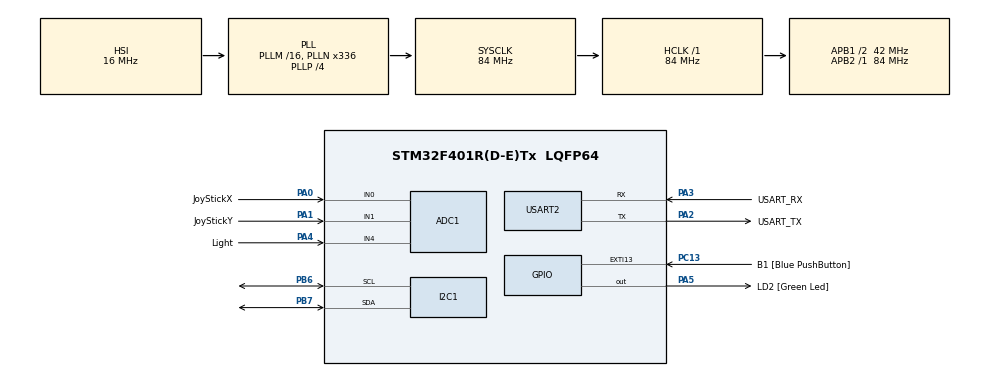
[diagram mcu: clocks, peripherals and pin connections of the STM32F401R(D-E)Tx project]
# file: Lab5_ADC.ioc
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ADC1.Channel-0\#ChannelRegularConversion=ADC_CHANNEL_0
ADC1.Channel-4\#ChannelRegularConversion=ADC_CHANNEL_1
ADC1.Channel-5\#ChannelRegularConversion=ADC_CHANNEL_4
ADC1.ContinuousConvMode=ENABLE
ADC1.InjNumberOfConversion=0
ADC1.NbrOfConversion=3
ADC1.NbrOfConversionFlag=1
ADC1.Rank-0\#ChannelRegularConversion=1
ADC1.Rank-4\#ChannelRegularConversion=2
ADC1.Rank-5\#ChannelRegularConversion=3
ADC1.SamplingTime-0\#ChannelRegularConversion=ADC_SAMPLETIME_480CYCLES
ADC1.SamplingTime-4\#ChannelRegularConversion=ADC_SAMPLETIME_480CYCLES
ADC1.SamplingTime-5\#ChannelRegularConversion=ADC_SAMPLETIME_480CYCLES
ADC1.ScanConvMode=ENABLE
ADC1.master=1
Mcu.Family=STM32F4
Mcu.Name=STM32F401R(D-E)Tx
Mcu.Package=LQFP64
NVIC.ADC_IRQn=true\:0\:0\:false\:false\:true\:true\:true\:true
NVIC.PriorityGroup=NVIC_PRIORITYGROUP_0
PA0-WKUP.GPIO_Label=JoyStickX
PA0-WKUP.Signal=ADCx_IN0
PA1.GPIO_Label=JoyStickY
PA1.Signal=ADCx_IN1
PA13.GPIO_Label=TMS
PA13.Mode=Serial_Wire
PA13.Signal=SYS_JTMS-SWDIO
PA14.GPIO_Label=TCK
PA14.Mode=Serial_Wire
PA14.Signal=SYS_JTCK-SWCLK
PA2.GPIO_Label=USART_TX
PA2.GPIO_Mode=GPIO_MODE_AF_PP
PA2.GPIO_PuPd=GPIO_NOPULL
PA2.GPIO_Speed=GPIO_SPEED_FREQ_LOW
PA2.Mode=Asynchronous
PA2.Signal=USART2_TX
PA3.GPIO_Label=USART_RX
PA3.GPIO_Mode=GPIO_MODE_AF_PP
PA3.GPIO_PuPd=GPIO_NOPULL
PA3.GPIO_Speed=GPIO_SPEED_FREQ_LOW
PA3.Mode=Asynchronous
PA3.Signal=USART2_RX
PA4.GPIO_Label=Light
PA4.Signal=ADCx_IN4
PA5.GPIO_Label=LD2 [Green Led]
PA5.GPIO_Mode=GPIO_MODE_OUTPUT_PP
PA5.GPIO_PuPd=GPIO_NOPULL
PA5.GPIO_Speed=GPIO_SPEED_FREQ_LOW
PA5.Signal=GPIO_Output
PB0.Signal=ADCx_IN8
PB3.GPIO_Label=SWO
PB3.Signal=SYS_JTDO-SWO
PB6.Mode=I2C
PB6.Signal=I2C1_SCL
PB7.Mode=I2C
PB7.Signal=I2C1_SDA
PC13-ANTI_TAMP.GPIO_Label=B1 [Blue PushButton]
PC13-ANTI_TAMP.GPIO_ModeDefaultEXTI=GPIO_MODE_IT_FALLING
PC13-ANTI_TAMP.GPIO_PuPd=GPIO_NOPULL
PC13-ANTI_TAMP.Signal=GPXTI13
PC14-OSC32_IN.Mode=LSE-External-Oscillator
PC14-OSC32_IN.Signal=RCC_OSC32_IN
PC15-OSC32_OUT.Mode=LSE-External-Oscillator
PC15-OSC32_OUT.Signal=RCC_OSC32_OUT
PH0\ -\ OSC_IN.Mode=HSE-External-Clock-Source
PH0\ -\ OSC_IN.Signal=RCC_OSC_IN
PH1\ -\ OSC_OUT.Mode=HSE-External-Clock-Source
PH1\ -\ OSC_OUT.Signal=RCC_OSC_OUT
ProjectManager.HeapSize=0x200
ProjectManager.StackSize=0x400
ProjectManager.TargetToolchain=STM32CubeIDE
RCC.48MHZClocksFreq_Value=48000000
RCC.AHBFreq_Value=84000000
RCC.APB1CLKDivider=RCC_HCLK_DIV2
RCC.APB1Freq_Value=42000000
RCC.APB1TimFreq_Value=84000000
RCC.APB2Freq_Value=84000000
RCC.APB2TimFreq_Value=84000000
RCC.CortexFreq_Value=84000000
RCC.HCLKFreq_Value=84000000
RCC.HSE_VALUE=8000000
RCC.HSI_VALUE=16000000
RCC.PLLN=336
RCC.PLLP=RCC_PLLP_DIV4
RCC.PLLQ=7
RCC.SYSCLKFreq_VALUE=84000000
RCC.SYSCLKSource=RCC_SYSCLKSOURCE_PLLCLK
RCC.VCOOutputFreq_Value=336000000
SH.ADCx_IN0.0=ADC1_IN0,IN0
SH.ADCx_IN1.0=ADC1_IN1,IN1
SH.ADCx_IN4.0=ADC1_IN4,IN4
SH.ADCx_IN8.0=ADC1_IN8
TIM2.Period=0xffffffff
TIM2.Prescaler=84-1
USART2.VirtualMode=VM_ASYNC
VP_TIM2_VS_ClockSourceINT.Mode=Internal
board=NUCLEO-F401RE

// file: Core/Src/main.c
/* USER CODE BEGIN Header */
/**
  ******************************************************************************
  * @file           : main.c
  * @brief          : Main program body
  ******************************************************************************
  * @attention
  *
  * Copyright (c) 2024 STMicroelectronics.
  * All rights reserved.
  *
  * This software is licensed under terms that can be found in the LICENSE file
  * in the root directory of this software component.
  * If no LICENSE file comes with this software, it is provided AS-IS.
  *
  ******************************************************************************
  */
/* USER CODE END Header */
#include "main.h"

/* USER CODE BEGIN Includes */
#include "lcd.h"
#include <stdio.h>
#include <string.h>
/* USER CODE END Includes */

ADC_HandleTypeDef hadc1;

I2C_HandleTypeDef hi2c1;

TIM_HandleTypeDef htim2;

UART_HandleTypeDef huart2;

/* USER CODE BEGIN PV */
char str[50] = { '\0'};
TextLCDType lcd;
#define ADC_BUF_SIZE 3
uint32_t adc_buffer[ADC_BUF_SIZE];
int adc_buf_ix = 0;
#define JOY_X_IX 0
#define JOY_Y_IX 1
#define LIGHT_IX 2
/* USER CODE END PV */

void SystemClock_Config(void);
static void MX_GPIO_Init(void);
static void MX_USART2_UART_Init(void);
static void MX_ADC1_Init(void);
static void MX_I2C1_Init(void);
static void MX_TIM2_Init(void);

/* USER CODE BEGIN 0 */
uint16_t read_one_adc_value(ADC_HandleTypeDef * hadc)
{
	HAL_ADC_Start(hadc);
	HAL_ADC_PollForConversion(hadc, 100);
	uint32_t reading = HAL_ADC_GetValue(hadc);
	HAL_ADC_Stop(hadc);
	return (uint16_t) reading;
}

float normalize_12bit(uint16_t x) // right in image
{
	return 1 - (x / 4095.0);
}

float normalize_12bit_posneg(uint16_t x) // left in image
{
	return (x / 2048.0) - 1;
}
float normalize_12bit_lumine(uint16_t x) {
	return (4095.00 - x) /4095.0;
}
void convert_time_to_str(float number)
{
	sprintf(str, "%0.2f", number);
}

void convert_light_to_str(float number)
{
	sprintf(str, "%0.3f", number);
}

float light_sensor(uint16_t light_reading)
{
	return (light_reading);
}

void HAL_ADC_ConvCpltCallback(ADC_HandleTypeDef *hadc)
{
	adc_buffer[adc_buf_ix] = HAL_ADC_GetValue(hadc);
	adc_buf_ix++;
	if(adc_buf_ix == ADC_BUF_SIZE)
	{
		adc_buf_ix = 0;

	}
}
/* USER CODE END 0 */

int main(void)
{

  /* MCU Configuration--------------------------------------------------------*/

  /* Reset of all peripherals, Initializes the Flash interface and the Systick. */
  HAL_Init();

  /* Configure the system clock */
  SystemClock_Config();

  /* Initialize all configured peripherals */
  MX_GPIO_Init();
  MX_USART2_UART_Init();
  MX_ADC1_Init();
  MX_I2C1_Init();
  MX_TIM2_Init();
  /* USER CODE BEGIN 2 */
  read_one_adc_value(&hadc1);

  //uint16_t joystickX;
  TextLCD_Init(&lcd, &hi2c1, 0x4E);
  HAL_ADC_Start_IT(&hadc1);
  /* USER CODE END 2 */

  /* Infinite loop */
  while (1)
  {

    /* USER CODE BEGIN 3 */

	  /*Testing
	      //joystickX = read_one_adc_value(&hadc1);
	      // Transmit the raw ADC value as bytes over UART
	      HAL_UART_Transmit(&huart2, (uint8_t*)&joystickX, sizeof(joystickX), HAL_MAX_DELAY);
	      HAL_Delay(500); // 500ms delay
	  */
	  if (adc_buf_ix == 0)
	  	  {
	  		  //x value
	  		  TextLCD_Position(&lcd, 0, 0);
	  		  convert_time_to_str(normalize_12bit_posneg(adc_buffer[JOY_X_IX]));

	  		  if(normalize_12bit_posneg(adc_buffer[JOY_X_IX]) >= 0){
	  			  TextLCD_PutChar(&lcd, '+');
	  		  }
	  		  TextLCD_PutStr(&lcd, str);
	  		  TextLCD_PutChar(&lcd, 'x');

	  		  //y value
	  		  TextLCD_Position(&lcd, 0, 1);
	  		  convert_time_to_str(normalize_12bit_posneg(adc_buffer[JOY_Y_IX]));

	  		  if(normalize_12bit_posneg(adc_buffer[JOY_Y_IX]) >= 0){
	  			  TextLCD_PutChar(&lcd, '+');
	  		  }
	  		  TextLCD_PutStr(&lcd, str);
	  		  TextLCD_PutChar(&lcd, 'y');

	  		  //light value
	  		  TextLCD_Position(&lcd, 10, 1);
	  		  convert_light_to_str(normalize_12bit(adc_buffer[LIGHT_IX]));

	  		  TextLCD_PutStr(&lcd, str);
	  		  TextLCD_PutChar(&lcd, 'L');
	  	  }
  }
  /* USER CODE END 3 */
}

void SystemClock_Config(void)
{
  RCC_OscInitTypeDef RCC_OscInitStruct = {0};
  RCC_ClkInitTypeDef RCC_ClkInitStruct = {0};

  /** Configure the main internal regulator output voltage
  */
  __HAL_RCC_PWR_CLK_ENABLE();
  __HAL_PWR_VOLTAGESCALING_CONFIG(PWR_REGULATOR_VOLTAGE_SCALE2);

  /** Initializes the RCC Oscillators according to the specified parameters
  * in the RCC_OscInitTypeDef structure.
  */
  RCC_OscInitStruct.OscillatorType = RCC_OSCILLATORTYPE_HSI;
  RCC_OscInitStruct.HSIState = RCC_HSI_ON;
  RCC_OscInitStruct.HSICalibrationValue = RCC_HSICALIBRATION_DEFAULT;
  RCC_OscInitStruct.PLL.PLLState = RCC_PLL_ON;
  RCC_OscInitStruct.PLL.PLLSource = RCC_PLLSOURCE_HSI;
  RCC_OscInitStruct.PLL.PLLM = 16;
  RCC_OscInitStruct.PLL.PLLN = 336;
  RCC_OscInitStruct.PLL.PLLP = RCC_PLLP_DIV4;
  RCC_OscInitStruct.PLL.PLLQ = 7;
  if (HAL_RCC_OscConfig(&RCC_OscInitStruct) != HAL_OK)
  {
    Error_Handler();
  }

  /** Initializes the CPU, AHB and APB buses clocks
  */
  RCC_ClkInitStruct.ClockType = RCC_CLOCKTYPE_HCLK|RCC_CLOCKTYPE_SYSCLK
                              |RCC_CLOCKTYPE_PCLK1|RCC_CLOCKTYPE_PCLK2;
  RCC_ClkInitStruct.SYSCLKSource = RCC_SYSCLKSOURCE_PLLCLK;
  RCC_ClkInitStruct.AHBCLKDivider = RCC_SYSCLK_DIV1;
  RCC_ClkInitStruct.APB1CLKDivider = RCC_HCLK_DIV2;
  RCC_ClkInitStruct.APB2CLKDivider = RCC_HCLK_DIV1;

  if (HAL_RCC_ClockConfig(&RCC_ClkInitStruct, FLASH_LATENCY_2) != HAL_OK)
  {
    Error_Handler();
  }
}

static void MX_ADC1_Init(void)
{

  ADC_ChannelConfTypeDef sConfig = {0};

  /** Configure the global features of the ADC (Clock, Resolution, Data Alignment and number of conversion)
  */
  hadc1.Instance = ADC1;
  hadc1.Init.ClockPrescaler = ADC_CLOCK_SYNC_PCLK_DIV4;
  hadc1.Init.Resolution = ADC_RESOLUTION_12B;
  hadc1.Init.ScanConvMode = ENABLE;
  hadc1.Init.ContinuousConvMode = ENABLE;
  hadc1.Init.DiscontinuousConvMode = DISABLE;
  hadc1.Init.ExternalTrigConvEdge = ADC_EXTERNALTRIGCONVEDGE_NONE;
  hadc1.Init.ExternalTrigConv = ADC_SOFTWARE_START;
  hadc1.Init.DataAlign = ADC_DATAALIGN_RIGHT;
  hadc1.Init.NbrOfConversion = 3;
  hadc1.Init.DMAContinuousRequests = DISABLE;
  hadc1.Init.EOCSelection = ADC_EOC_SINGLE_CONV;
  if (HAL_ADC_Init(&hadc1) != HAL_OK)
  {
    Error_Handler();
  }

  /** Configure for the selected ADC regular channel its corresponding rank in the sequencer and its sample time.
  */
  sConfig.Channel = ADC_CHANNEL_0;
  sConfig.Rank = 1;
  sConfig.SamplingTime = ADC_SAMPLETIME_480CYCLES;
  if (HAL_ADC_ConfigChannel(&hadc1, &sConfig) != HAL_OK)
  {
    Error_Handler();
  }

  /** Configure for the selected ADC regular channel its corresponding rank in the sequencer and its sample time.
  */
  sConfig.Channel = ADC_CHANNEL_1;
  sConfig.Rank = 2;
  if (HAL_ADC_ConfigChannel(&hadc1, &sConfig) != HAL_OK)
  {
    Error_Handler();
  }

  /** Configure for the selected ADC regular channel its corresponding rank in the sequencer and its sample time.
  */
  sConfig.Channel = ADC_CHANNEL_4;
  sConfig.Rank = 3;
  if (HAL_ADC_ConfigChannel(&hadc1, &sConfig) != HAL_OK)
  {
    Error_Handler();
  }

}

static void MX_I2C1_Init(void)
{

  hi2c1.Instance = I2C1;
  hi2c1.Init.ClockSpeed = 100000;
  hi2c1.Init.DutyCycle = I2C_DUTYCYCLE_2;
  hi2c1.Init.OwnAddress1 = 0;
  hi2c1.Init.AddressingMode = I2C_ADDRESSINGMODE_7BIT;
  hi2c1.Init.DualAddressMode = I2C_DUALADDRESS_DISABLE;
  hi2c1.Init.OwnAddress2 = 0;
  hi2c1.Init.GeneralCallMode = I2C_GENERALCALL_DISABLE;
  hi2c1.Init.NoStretchMode = I2C_NOSTRETCH_DISABLE;
  if (HAL_I2C_Init(&hi2c1) != HAL_OK)
  {
    Error_Handler();
  }

}

static void MX_TIM2_Init(void)
{

  TIM_ClockConfigTypeDef sClockSourceConfig = {0};
  TIM_MasterConfigTypeDef sMasterConfig = {0};

  htim2.Instance = TIM2;
  htim2.Init.Prescaler = 84-1;
  htim2.Init.CounterMode = TIM_COUNTERMODE_UP;
  htim2.Init.Period = 0xffffffff;
  htim2.Init.ClockDivision = TIM_CLOCKDIVISION_DIV1;
  htim2.Init.AutoReloadPreload = TIM_AUTORELOAD_PRELOAD_DISABLE;
  if (HAL_TIM_Base_Init(&htim2) != HAL_OK)
  {
    Error_Handler();
  }
  sClockSourceConfig.ClockSource = TIM_CLOCKSOURCE_INTERNAL;
  if (HAL_TIM_ConfigClockSource(&htim2, &sClockSourceConfig) != HAL_OK)
  {
    Error_Handler();
  }
  sMasterConfig.MasterOutputTrigger = TIM_TRGO_RESET;
  sMasterConfig.MasterSlaveMode = TIM_MASTERSLAVEMODE_DISABLE;
  if (HAL_TIMEx_MasterConfigSynchronization(&htim2, &sMasterConfig) != HAL_OK)
  {
    Error_Handler();
  }

}

static void MX_USART2_UART_Init(void)
{

  huart2.Instance = USART2;
  huart2.Init.BaudRate = 115200;
  huart2.Init.WordLength = UART_WORDLENGTH_8B;
  huart2.Init.StopBits = UART_STOPBITS_1;
  huart2.Init.Parity = UART_PARITY_NONE;
  huart2.Init.Mode = UART_MODE_TX_RX;
  huart2.Init.HwFlowCtl = UART_HWCONTROL_NONE;
  huart2.Init.OverSampling = UART_OVERSAMPLING_16;
  if (HAL_UART_Init(&huart2) != HAL_OK)
  {
    Error_Handler();
  }

}

static void MX_GPIO_Init(void)
{
  GPIO_InitTypeDef GPIO_InitStruct = {0};

  /* GPIO Ports Clock Enable */
  __HAL_RCC_GPIOC_CLK_ENABLE();
  __HAL_RCC_GPIOH_CLK_ENABLE();
  __HAL_RCC_GPIOA_CLK_ENABLE();
  __HAL_RCC_GPIOB_CLK_ENABLE();

  /*Configure GPIO pin Output Level */
  HAL_GPIO_WritePin(LD2_GPIO_Port, LD2_Pin, GPIO_PIN_RESET);

  /*Configure GPIO pin : B1_Pin */
  GPIO_InitStruct.Pin = B1_Pin;
  GPIO_InitStruct.Mode = GPIO_MODE_IT_FALLING;
  GPIO_InitStruct.Pull = GPIO_NOPULL;
  HAL_GPIO_Init(B1_GPIO_Port, &GPIO_InitStruct);

  /*Configure GPIO pin : LD2_Pin */
  GPIO_InitStruct.Pin = LD2_Pin;
  GPIO_InitStruct.Mode = GPIO_MODE_OUTPUT_PP;
  GPIO_InitStruct.Pull = GPIO_NOPULL;
  GPIO_InitStruct.Speed = GPIO_SPEED_FREQ_LOW;
  HAL_GPIO_Init(LD2_GPIO_Port, &GPIO_InitStruct);

}

void Error_Handler(void)
{
  __disable_irq();
  while (1)
  {
  }
}
